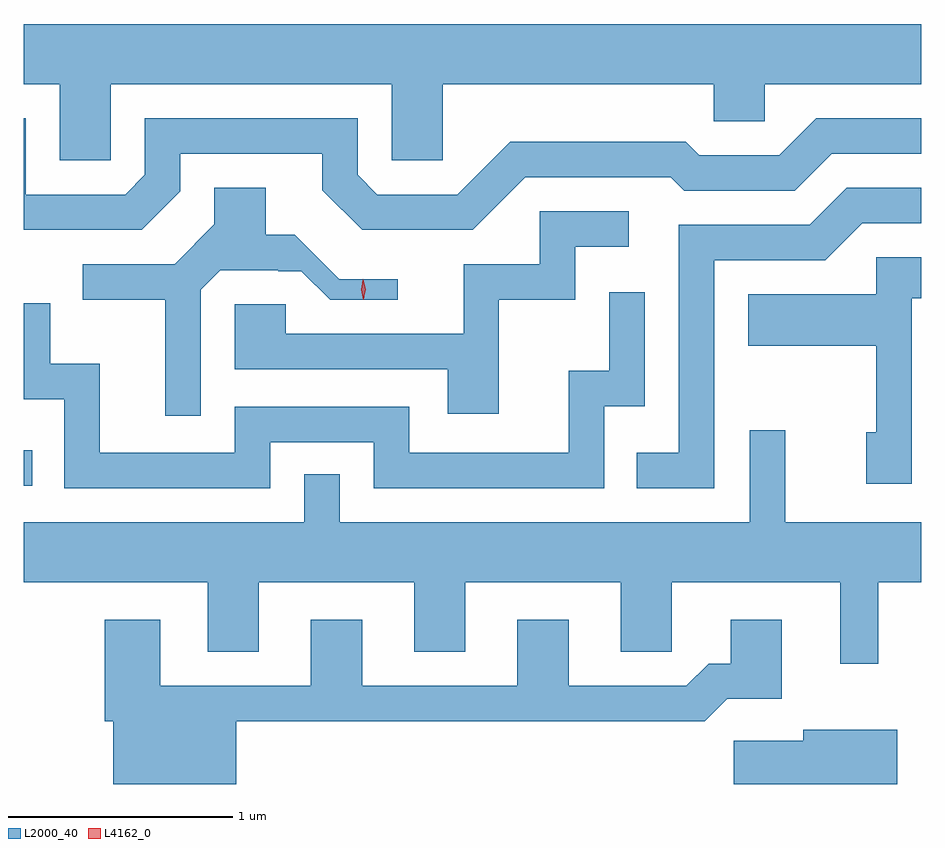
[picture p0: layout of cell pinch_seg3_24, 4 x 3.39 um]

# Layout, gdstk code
import gdstk
lib = gdstk.Library(unit=1e-6, precision=1e-09)
def R(c, l, rs):  # rectangles x0, y0, x1, y1
    for r in rs: c.add(gdstk.rectangle(r[:2], r[2:], *l))
def P(c, l, *ps):  # polygons
    for p in ps: c.add(gdstk.Polygon(p, *l))
L2000_40 = (2000, 40)
L4162_0 = (4162, 0)

pinch_seg3_24 = lib.new_cell('pinch_seg3_24')
R(pinch_seg3_24, L2000_40, [(1746.021,1122.006,1746.058,1122.164)])
P(pinch_seg3_24, L2000_40, [(1746.409,1123.796),(1747.661,1123.796),(1747.661,1123.456),(1747.889,1123.456),(1747.889,1123.796),(1749.096,1123.796),(1749.096,1123.631),(1749.324,1123.631),(1749.324,1123.796),(1750.021,1123.796),(1750.021,1124.064),(1746.021,1124.064),(1746.021,1123.796),(1746.181,1123.796),(1746.181,1123.456),(1746.409,1123.456)],
  [(1746.719,1123.319),(1746.719,1123.486),(1747.351,1123.486),(1747.351,1123.324),(1747.529,1123.146),(1748.022,1123.146),(1748.257,1123.381),(1748.904,1123.381),(1748.964,1123.321),(1749.457,1123.321),(1749.622,1123.486),(1750.021,1123.486),(1750.021,1123.644),(1749.554,1123.644),(1749.389,1123.479),(1749.032,1123.479),(1748.972,1123.539),(1748.189,1123.539),(1747.954,1123.304),(1747.597,1123.304),(1747.509,1123.392),(1747.509,1123.644),(1746.561,1123.644),(1746.561,1123.392),(1746.474,1123.304),(1746.029,1123.304),(1746.029,1123.644),(1746.021,1123.644),(1746.021,1123.146),(1746.547,1123.146)],
  [(1746.809,1122.879),(1746.897,1122.966),(1747.155,1122.966),(1747.155,1122.962),(1747.258,1122.962),(1747.386,1122.834),(1747.688,1122.834),(1747.688,1122.926),(1747.428,1122.926),(1747.229,1123.124),(1747.099,1123.124),(1747.099,1123.334),(1746.871,1123.334),(1746.871,1123.172),(1746.694,1122.994),(1746.283,1122.994),(1746.283,1122.836),(1746.651,1122.836),(1746.651,1122.318),(1746.809,1122.318)],
  [(1749.099,1123.011),(1749.592,1123.011),(1749.757,1123.176),(1750.021,1123.176),(1750.021,1123.334),(1749.689,1123.334),(1749.524,1123.169),(1748.941,1123.169),(1748.941,1122.154),(1748.753,1122.154),(1748.753,1121.996),(1749.099,1121.996)],
  [(1748.139,1122.836),(1748.479,1122.836),(1748.479,1123.071),(1748.718,1123.071),(1748.718,1123.229),(1748.321,1123.229),(1748.321,1122.994),(1747.981,1122.994),(1747.981,1122.684),(1747.189,1122.684),(1747.189,1122.814),(1746.961,1122.814),(1746.961,1122.526),(1747.911,1122.526),(1747.911,1122.326),(1748.139,1122.326)],
  [(1749.979,1122.841),(1750.021,1122.841),(1750.021,1123.024),(1749.821,1123.024),(1749.821,1122.859),(1749.251,1122.859),(1749.251,1122.631),(1749.821,1122.631),(1749.821,1122.244),(1749.776,1122.244),(1749.776,1122.016),(1749.979,1122.016)],
  [(1747.119,1122.201),(1747.581,1122.201),(1747.581,1121.996),(1748.609,1121.996),(1748.609,1122.361),(1748.789,1122.361),(1748.789,1122.868),(1748.631,1122.868),(1748.631,1122.519),(1748.451,1122.519),(1748.451,1122.154),(1747.739,1122.154),(1747.739,1122.359),(1746.961,1122.359),(1746.961,1122.154),(1746.359,1122.154),(1746.359,1122.549),(1746.139,1122.549),(1746.139,1122.819),(1746.021,1122.819),(1746.021,1122.391),(1746.201,1122.391),(1746.201,1121.996),(1747.119,1121.996)],
  [(1747.761,1121.266),(1747.989,1121.266),(1747.989,1121.576),(1748.681,1121.576),(1748.681,1121.266),(1748.909,1121.266),(1748.909,1121.576),(1749.661,1121.576),(1749.661,1121.213),(1749.829,1121.213),(1749.829,1121.576),(1750.021,1121.576),(1750.021,1121.844),(1749.414,1121.844),(1749.414,1122.253),(1749.256,1122.253),(1749.256,1121.844),(1747.429,1121.844),(1747.429,1122.058),(1747.271,1122.058),(1747.271,1121.844),(1746.021,1121.844),(1746.021,1121.576),(1746.841,1121.576),(1746.841,1121.266),(1747.069,1121.266),(1747.069,1121.576),(1747.761,1121.576)],
  [(1746.969,1120.956),(1749.057,1120.956),(1749.157,1121.056),(1749.399,1121.056),(1749.399,1121.409),(1749.171,1121.409),(1749.171,1121.214),(1749.074,1121.214),(1748.974,1121.114),(1748.449,1121.114),(1748.449,1121.409),(1748.221,1121.409),(1748.221,1121.114),(1747.529,1121.114),(1747.529,1121.409),(1747.301,1121.409),(1747.301,1121.114),(1746.629,1121.114),(1746.629,1121.409),(1746.381,1121.409),(1746.381,1120.956),(1746.421,1120.956),(1746.421,1120.677),(1746.969,1120.677)],
  [(1749.914,1120.919),(1749.496,1120.919),(1749.496,1120.869),(1749.186,1120.869),(1749.186,1120.677),(1749.914,1120.677)])
P(pinch_seg3_24, L4162_0, [(1747.535,1122.834),(1747.535,1122.835),(1747.525,1122.879),(1747.533,1122.924),(1747.534,1122.925),(1747.534,1122.924),(1747.544,1122.88),(1747.536,1122.835)],
  [(1747.536,1122.844),(1747.536,1122.844),(1747.526,1122.881),(1747.536,1122.918),(1747.536,1122.919),(1747.537,1122.918),(1747.546,1122.881),(1747.537,1122.844)])

lib.write_gds('pinch_seg3_24.gds')
